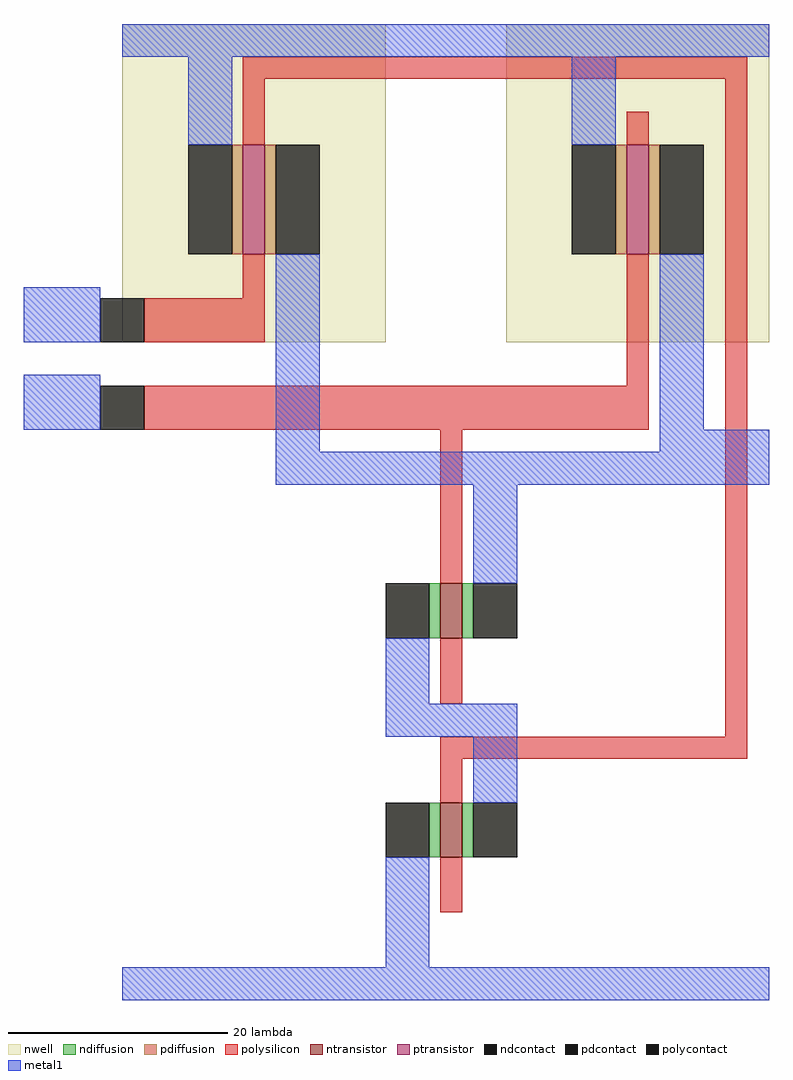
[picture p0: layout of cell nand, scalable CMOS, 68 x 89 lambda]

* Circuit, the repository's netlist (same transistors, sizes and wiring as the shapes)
SPICE3 file created from nand.ext - technology: scmos
*4 bit CLA
.include TSMC_180nm.txt
.param SUPPLY=1.8
.param LAMBDA=0.09u
.param width_N={5*LAMBDA}
.param width_P={10*LAMBDA}
.global gnd vdd

Vdd vdd gnd 'SUPPLY'

va1 a1 0 pulse 0 1.8 0ns 1ns 1ns 10ns 10ns
va2 b1 0 pulse 0 1.8 0ns 1ns 1ns 10ns 20ns

.option scale=0.09u

M1000 y a1 vdd vdd CMOSP w=10 l=2
+  ad=100 pd=60 as=100 ps=60
M1001 x b1 gnd Gnd CMOSN w=5 l=2
+  ad=50 pd=40 as=25 ps=20
M1002 y b1 vdd vdd CMOSP w=10 l=2
+  ad=0 pd=0 as=0 ps=0
M1003 y a1 x Gnd CMOSN w=5 l=2
+  ad=25 pd=20 as=0 ps=0

.tran 0.1n 80n

.control
set hcopypscolor = 1 *White background for saving plots
set color0=white ** color0 is used to set the background of the plot (manual sec:17.7)
set color1=black ** color1 is used to set the grid color of the plot (manual sec:17.7)


run
plot v(y) v(a1)+2 v(b1)+4
.endc

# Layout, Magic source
magic
tech scmos
<< nwell >>
rect -37 -3 -13 26
rect -2 -3 22 26
<< ntransistor >>
rect -8 -30 -6 -25
rect -8 -50 -6 -45
<< ptransistor >>
rect -26 5 -24 15
rect 9 5 11 15
<< ndiffusion >>
rect -9 -30 -8 -25
rect -6 -30 -5 -25
rect -9 -50 -8 -45
rect -6 -50 -5 -45
<< pdiffusion >>
rect -27 5 -26 15
rect -24 5 -23 15
rect 8 5 9 15
rect 11 5 12 15
<< ndcontact >>
rect -13 -30 -9 -25
rect -5 -30 -1 -25
rect -13 -50 -9 -45
rect -5 -50 -1 -45
<< pdcontact >>
rect -31 5 -27 15
rect -23 5 -19 15
rect 4 5 8 15
rect 12 5 16 15
<< polysilicon >>
rect -26 21 20 23
rect -26 15 -24 21
rect 9 15 11 18
rect -26 1 -24 5
rect -35 -3 -24 1
rect 9 -7 11 5
rect -35 -11 11 -7
rect -8 -25 -6 -11
rect -8 -36 -6 -30
rect 18 -39 20 21
rect -8 -41 20 -39
rect -8 -45 -6 -41
rect -8 -55 -6 -50
<< polycontact >>
rect -39 -3 -35 1
rect -39 -11 -35 -7
<< metal1 >>
rect -37 23 22 26
rect -31 15 -27 23
rect 4 15 8 23
rect -46 -3 -39 2
rect -46 -11 -39 -6
rect -23 -13 -19 5
rect 12 -11 16 5
rect 12 -13 22 -11
rect -23 -16 22 -13
rect -5 -25 -1 -16
rect -13 -36 -9 -30
rect -13 -39 -1 -36
rect -5 -45 -1 -39
rect -13 -60 -9 -50
rect -37 -63 22 -60
<< end >>
